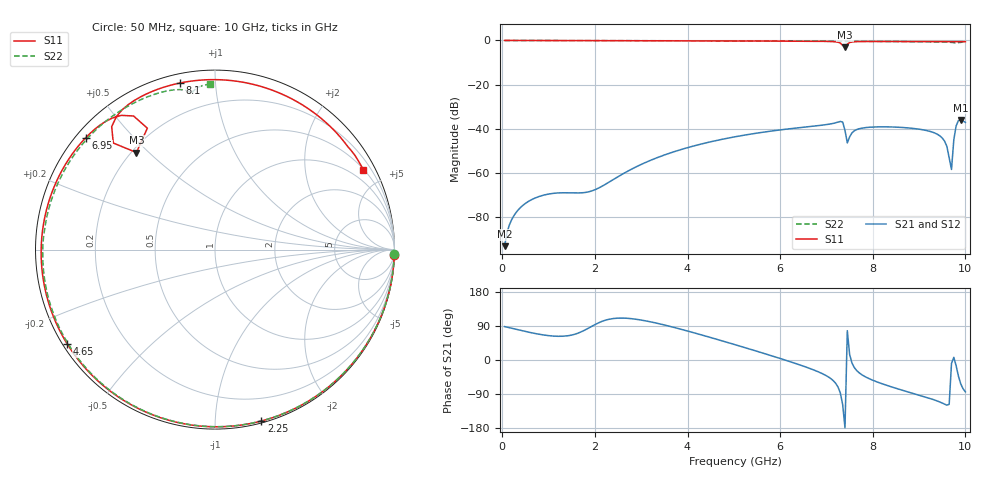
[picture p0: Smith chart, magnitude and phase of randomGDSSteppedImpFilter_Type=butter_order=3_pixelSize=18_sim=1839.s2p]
! freq	dB(S11)	phase(S11)	dB(S12)	phase(S12)
!  dB(S21)	phase(S21)	dB(S22)	phase(S22)
!S-par simulation data
#  GHz  S  DB  R 50
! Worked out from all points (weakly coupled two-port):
!   200 points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, 50 MHz to 10 GHz, reference 50 ohm
!   highest |S21| = -36.09 dB at 9.9 GHz (marker M1); lowest = -93.3 dB at 50 MHz (marker M2)
!   lowest |S11| = -3.1 dB at 7.4 GHz (marker M3), VSWR 5.58, Z = 10.9 + j22.9 ohm
!   |S11| at or under -10 dB: nowhere
!   |S22| runs from -1.1 to 0.0 dB; largest |S21 - S12| = 0
!   S11 on the Smith chart (normalised r, x): 50 MHz: 1, -65; 2.25 GHz: 0.01, -1.31; 4.65 GHz: 0.01, -0.29; 6.95 GHz: 0.03, +0.37; 8.1 GHz: 0.04, +0.81; 10 GHz: 0.53, +3.92
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0.05  -0.00 -1.8  -93.29 88.2  -93.29 88.2  -0.00 -1.4
0.85  -0.03 -29.1  -70.39 66.9  -70.39 66.9  -0.03 -23.5
1.75  -0.07 -58.9  -69.04 77.0  -69.04 77.0  -0.06 -47.6
2.25  -0.09 -74.9  -64.95 105.8  -64.95 105.8  -0.08 -60.7
3.4  -0.14 -110.2  -52.72 95.3  -52.72 95.3  -0.12 -89.5
4.65  -0.20 -147.3  -45.26 54.0  -45.26 54.0  -0.17 -119.4
5.05  -0.23 -159.2  -43.59 39.6  -43.59 39.6  -0.19 -128.8
6.7  -0.37 148.3  -38.91 -25.1  -38.91 -25.1  -0.31 -168.5
6.95  -0.42 139.1  -38.30 -38.4  -38.30 -38.4  -0.34 -174.8
7.3  -1.19 121.4  -36.74 -87.3  -36.74 -87.3  -0.37 176.1
7.4  -3.15 129.0  -40.78 -178.8  -40.78 -178.8  -0.39 173.5
7.45  -1.72 133.7  -46.46 77.4  -46.46 77.4  -0.40 172.2
7.6  -0.58 123.5  -40.99 -19.7  -40.99 -19.7  -0.40 168.1
8.1  -0.46 101.9  -39.20 -58.2  -39.20 -58.2  -0.46 154.0
8.35  -0.47 92.1  -39.20 -68.8  -39.20 -68.8  -0.48 146.6
9.45  -0.54 49.2  -43.29 -110.9  -43.29 -110.9  -0.65 110.0
9.6  -0.55 43.4  -48.03 -119.2  -48.03 -119.2  -0.74 104.3
9.7  -0.56 39.6  -58.51 -9.1  -58.51 -9.1  -0.89 100.4
9.75  -0.57 37.7  -45.05 7.0  -45.05 7.0  -1.03 98.9
9.8  -0.55 35.9  -38.75 -15.1  -38.75 -15.1  -1.13 98.4
9.9  -0.54 32.0  -36.09 -63.2  -36.09 -63.2  -0.84 96.2
10  -0.55 28.1  -37.15 -84.1  -37.15 -84.1  -0.70 91.8
